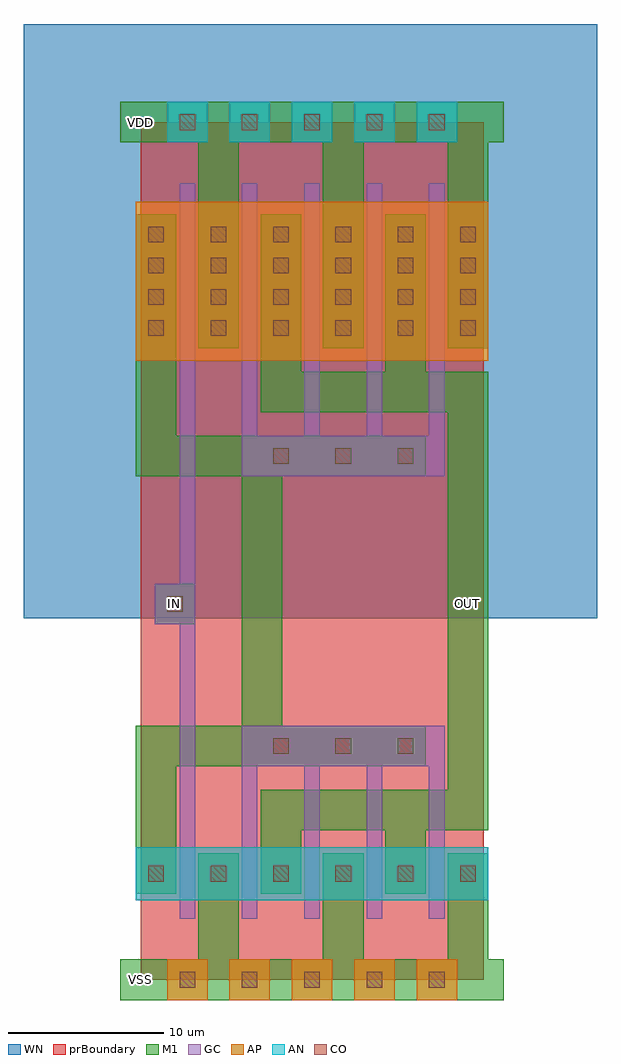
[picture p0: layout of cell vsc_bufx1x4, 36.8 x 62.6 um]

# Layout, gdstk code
import gdstk
lib = gdstk.Library(unit=1e-6, precision=1e-07)
def R(c, l, rs):  # rectangles x0, y0, x1, y1
    for r in rs: c.add(gdstk.rectangle(r[:2], r[2:], *l))
def A(c, l, x, y, w, h, nx, ny, dx, dy):  # array of equal rectangles
    R(c, l, [(x+i*dx, y+j*dy, x+i*dx+w, y+j*dy+h) for i in range(nx) for j in range(ny)])
def P(c, l, *ps):  # polygons
    for p in ps: c.add(gdstk.Polygon(p, *l))
AP = (3, 1)
AN = (3, 2)
GC = (8, 1)
CO = (11, 0)
M1 = (13, 0)
WN = (140, 0)
prBoundary = (235, 0)

fet_n_1 = lib.new_cell('fet_n$1')
R(fet_n_1, AN, [(-11.3,-1.7,11.3,1.7)])
A(fet_n_1, CO, -10.5, -0.5, 1, 1, 6, 1, 4, 0)
A(fet_n_1, M1, -11.3, -1.3, 2.6, 2.6, 6, 1, 4, 0)
fet_n_1.add(gdstk.FlexPath([(0,-2.9),(0,2.9)], 1, ends="flush", simple_path=True, layer=8, datatype=1))  # GC
fet_n_1.add(gdstk.FlexPath([(-4,-2.9),(-4,2.9)], 1, ends="flush", simple_path=True, layer=8, datatype=1))  # GC
fet_n_1.add(gdstk.FlexPath([(4,-2.9),(4,2.9)], 1, ends="flush", simple_path=True, layer=8, datatype=1))  # GC
fet_n_1.add(gdstk.FlexPath([(-8,-2.9),(-8,2.9)], 1, ends="flush", simple_path=True, layer=8, datatype=1))  # GC
fet_n_1.add(gdstk.FlexPath([(8,-2.9),(8,2.9)], 1, ends="flush", simple_path=True, layer=8, datatype=1))  # GC

fet_p = lib.new_cell('fet_p')
R(fet_p, AP, [(-11.3,-5.1,11.3,5.1)])
A(fet_p, CO, -10.5, -3.5, 1, 1, 6, 4, 4, 2)
A(fet_p, M1, -11.3, -4.3, 2.6, 8.6, 6, 1, 4, 0)
fet_p.add(gdstk.FlexPath([(0,-6.3),(0,6.3)], 1, ends="flush", simple_path=True, layer=8, datatype=1))  # GC
fet_p.add(gdstk.FlexPath([(-4,-6.3),(-4,6.3)], 1, ends="flush", simple_path=True, layer=8, datatype=1))  # GC
fet_p.add(gdstk.FlexPath([(4,-6.3),(4,6.3)], 1, ends="flush", simple_path=True, layer=8, datatype=1))  # GC
fet_p.add(gdstk.FlexPath([(-8,-6.3),(-8,6.3)], 1, ends="flush", simple_path=True, layer=8, datatype=1))  # GC
fet_p.add(gdstk.FlexPath([(8,-6.3),(8,6.3)], 1, ends="flush", simple_path=True, layer=8, datatype=1))  # GC

cont_g = lib.new_cell('cont_g')
R(cont_g, GC, [(-1.3,-1.3,1.3,1.3)])
R(cont_g, CO, [(-0.5,-0.5,0.5,0.5)])
R(cont_g, M1, [(-1.3,-1.3,1.3,1.3)])

cont_p = lib.new_cell('cont_p')
R(cont_p, AP, [(-1.3,-1.3,1.3,1.3)])
R(cont_p, CO, [(-0.5,-0.5,0.5,0.5)])
R(cont_p, M1, [(-1.3,-1.3,1.3,1.3)])

cont_n = lib.new_cell('cont_n')
R(cont_n, AN, [(-1.3,-1.3,1.3,1.3)])
R(cont_n, CO, [(-0.5,-0.5,0.5,0.5)])
R(cont_n, M1, [(-1.3,-1.3,1.3,1.3)])

vsc_bufx1x4 = lib.new_cell('vsc_bufx1x4')
R(vsc_bufx1x4, GC, [(2.5,9.7,3.5,38.5)])
P(vsc_bufx1x4, GC, [(6.5,9.7),(6.5,16.3),(19.5,16.3),(19.5,9.7),(18.5,9.7),(18.5,13.7),(15.5,13.7),(15.5,9.7),(14.5,9.7),(14.5,13.7),(11.5,13.7),(11.5,9.7),(10.5,9.7),(10.5,13.7),(7.5,13.7),(7.5,9.7)],
  [(6.5,32.3),(6.5,38.5),(7.5,38.5),(7.5,34.9),(10.5,34.9),(10.5,38.5),(11.5,38.5),(11.5,34.9),(14.5,34.9),(14.5,38.5),(15.5,38.5),(15.5,34.9),(18.5,34.9),(18.5,38.5),(19.5,38.5),(19.5,32.3)])
A(vsc_bufx1x4, M1, 3.7, 1.3, 2.6, 4.2, 3, 1, 8, 0)
A(vsc_bufx1x4, M1, 3.7, 49.1, 2.6, 4.6, 3, 1, 8, 0)
R(vsc_bufx1x4, M1, [(-1.3,-1.3,23.3,1.3), (-1.3,53.7,23.3,56.3)])
P(vsc_bufx1x4, M1, [(7.7,8.1),(7.7,12.2),(19.7,12.2),(19.7,36.4),(7.7,36.4),(7.7,40.5),(10.3,40.5),(10.3,39),(15.7,39),(15.7,40.5),(18.3,40.5),(18.3,39),(22.3,39),(22.3,9.6),(18.3,9.6),(18.3,8.1),(15.7,8.1),(15.7,9.6),(10.3,9.6),(10.3,8.1)],
  [(-0.3,8.1),(-0.3,16.3),(6.5,16.3),(6.5,32.3),(-0.3,32.3),(-0.3,40.5),(2.3,40.5),(2.3,34.9),(18.3,34.9),(18.3,32.3),(9.1,32.3),(9.1,16.3),(18.3,16.3),(18.3,13.7),(2.3,13.7),(2.3,8.1)])
R(vsc_bufx1x4, WN, [(-7.5,23.2,29.3,61.3)])
R(vsc_bufx1x4, prBoundary, [(0,0,22,55)])
vsc_bufx1x4.add(gdstk.Reference(fet_n_1, (11,6.8)))
vsc_bufx1x4.add(gdstk.Reference(fet_p, (11,44.8)))
vsc_bufx1x4.add(gdstk.Reference(cont_g, (2.2,24.1)))
r = gdstk.Reference(cont_g, (9,33.6)); r.repetition = gdstk.Repetition(3, 1, v1=(4,0), v2=(0,0)); vsc_bufx1x4.add(r)
r = gdstk.Reference(cont_g, (9,15)); r.repetition = gdstk.Repetition(3, 1, v1=(4,0), v2=(0,0)); vsc_bufx1x4.add(r)
r = gdstk.Reference(cont_p, (3,0)); r.repetition = gdstk.Repetition(5, 1, v1=(4,0), v2=(0,0)); vsc_bufx1x4.add(r)
r = gdstk.Reference(cont_n, (3,55)); r.repetition = gdstk.Repetition(5, 1, v1=(4,0), v2=(0,0)); vsc_bufx1x4.add(r)
vsc_bufx1x4.add(gdstk.Label('IN', (2.2,24.1), layer=48, texttype=0))
vsc_bufx1x4.add(gdstk.Label('OUT', (21,24.1), layer=48, texttype=0))
vsc_bufx1x4.add(gdstk.Label('VSS', (0,0), layer=48, texttype=0))
vsc_bufx1x4.add(gdstk.Label('VDD', (0,55), layer=48, texttype=0))

lib.write_gds('vsc_bufx1x4.gds')
